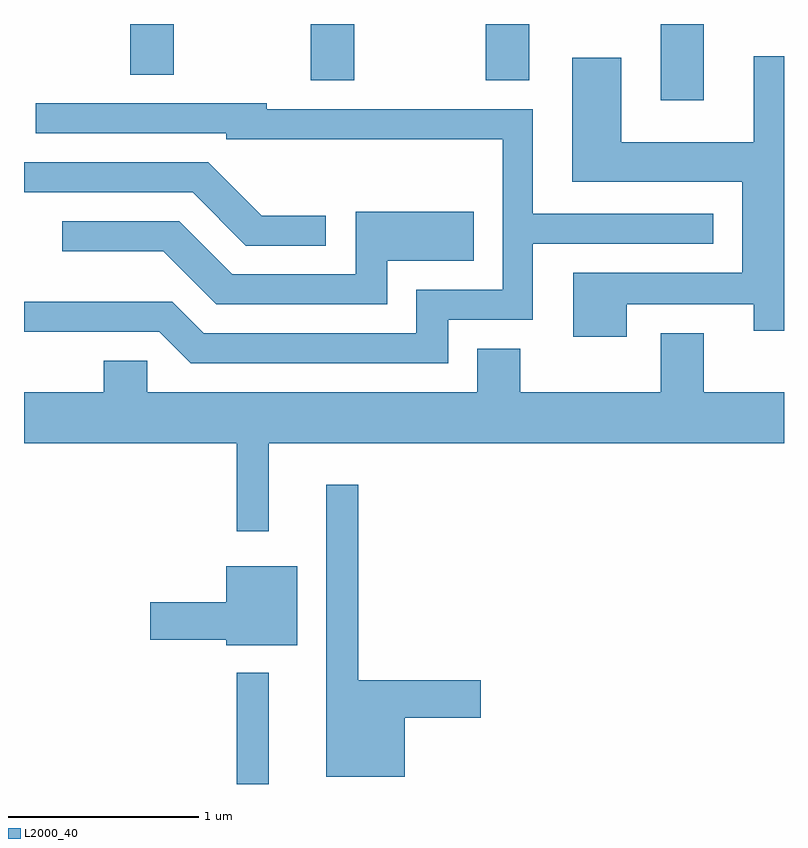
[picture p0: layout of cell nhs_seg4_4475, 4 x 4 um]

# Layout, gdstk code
import gdstk
lib = gdstk.Library(unit=1e-6, precision=1e-09)
def R(c, l, rs):  # rectangles x0, y0, x1, y1
    for r in rs: c.add(gdstk.rectangle(r[:2], r[2:], *l))
def P(c, l, *ps):  # polygons
    for p in ps: c.add(gdstk.Polygon(p, *l))
L2000_40 = (2000, 40)

nhs_seg4_4475 = lib.new_cell('nhs_seg4_4475')
R(nhs_seg4_4475, L2000_40, [(316.731,1363.982,316.899,1364.568), (318.961,1367.581,319.189,1367.982), (317.121,1367.686,317.349,1367.982), (318.041,1367.686,318.269,1367.982), (316.171,1367.716,316.399,1367.982)])
P(nhs_seg4_4475, L2000_40, [(318.784,1366.506),(319.451,1366.506),(319.451,1366.368),(319.611,1366.368),(319.611,1367.813),(319.451,1367.813),(319.451,1367.359),(318.754,1367.359),(318.754,1367.804),(318.496,1367.804),(318.496,1367.151),(319.391,1367.151),(319.391,1366.674),(318.501,1366.674),(318.501,1366.336),(318.784,1366.336)],
  [(317.844,1366.426),(318.289,1366.426),(318.289,1366.826),(319.238,1366.826),(319.238,1366.984),(318.289,1366.984),(318.289,1367.534),(316.889,1367.534),(316.889,1367.564),(315.673,1367.564),(315.673,1367.406),(316.676,1367.406),(316.676,1367.376),(318.131,1367.376),(318.131,1366.584),(317.676,1366.584),(317.676,1366.354),(316.557,1366.354),(316.392,1366.519),(315.611,1366.519),(315.611,1366.361),(316.324,1366.361),(316.489,1366.196),(317.844,1366.196)],
  [(317.198,1366.974),(316.862,1366.974),(316.582,1367.254),(315.611,1367.254),(315.611,1367.096),(316.499,1367.096),(316.779,1366.816),(317.198,1366.816)],
  [(317.524,1366.736),(317.979,1366.736),(317.979,1366.994),(317.356,1366.994),(317.356,1366.664),(316.707,1366.664),(316.427,1366.944),(315.813,1366.944),(315.813,1366.786),(316.344,1366.786),(316.624,1366.506),(317.524,1366.506)],
  [(316.899,1365.776),(319.611,1365.776),(319.611,1366.044),(319.189,1366.044),(319.189,1366.354),(318.961,1366.354),(318.961,1366.044),(318.224,1366.044),(318.224,1366.274),(317.996,1366.274),(317.996,1366.044),(316.259,1366.044),(316.259,1366.209),(316.031,1366.209),(316.031,1366.044),(315.611,1366.044),(315.611,1365.776),(316.731,1365.776),(316.731,1365.313),(316.899,1365.313)],
  [(317.614,1364.331),(318.014,1364.331),(318.014,1364.529),(317.369,1364.529),(317.369,1365.558),(317.201,1365.558),(317.201,1364.021),(317.614,1364.021)],
  [(317.049,1365.129),(316.676,1365.129),(316.676,1364.939),(316.276,1364.939),(316.276,1364.741),(316.676,1364.741),(316.676,1364.711),(317.049,1364.711)])

lib.write_gds('nhs_seg4_4475.gds')
